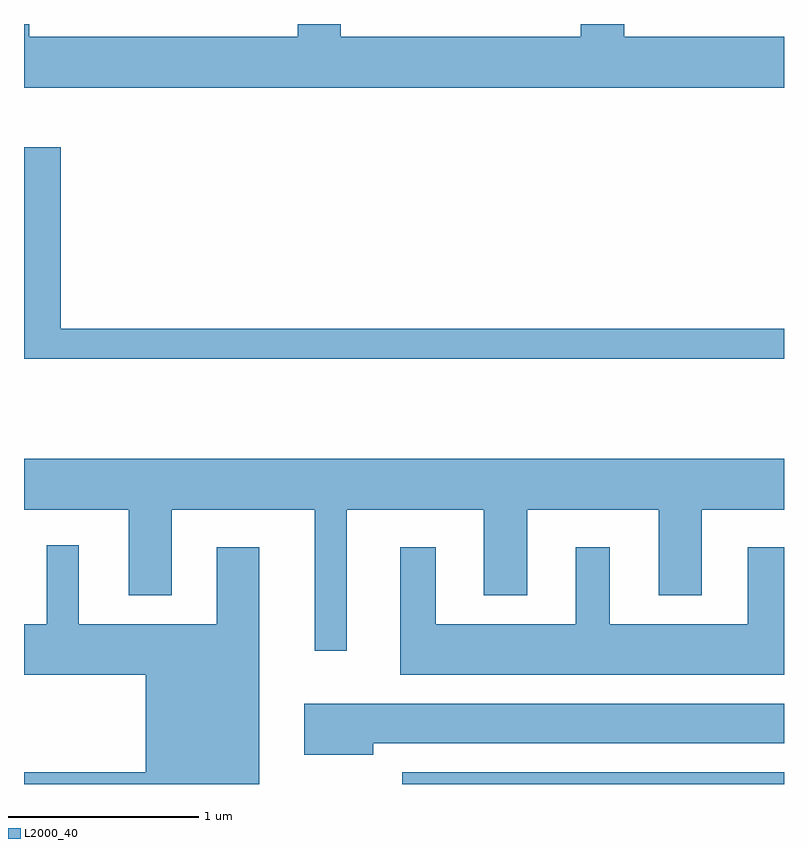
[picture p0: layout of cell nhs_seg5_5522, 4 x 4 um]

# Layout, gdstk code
import gdstk
lib = gdstk.Library(unit=1e-6, precision=1e-09)
def R(c, l, rs):  # rectangles x0, y0, x1, y1
    for r in rs: c.add(gdstk.rectangle(r[:2], r[2:], *l))
def P(c, l, *ps):  # polygons
    for p in ps: c.add(gdstk.Polygon(p, *l))
L2000_40 = (2000, 40)

nhs_seg5_5522 = lib.new_cell('nhs_seg5_5522')
R(nhs_seg5_5522, L2000_40, [(351.601,1402.072,353.611,1402.134)])
P(nhs_seg5_5522, L2000_40, [(353.611,1406.004),(352.769,1406.004),(352.769,1406.072),(352.541,1406.072),(352.541,1406.004),(351.279,1406.004),(351.279,1406.072),(351.051,1406.072),(351.051,1406.004),(349.639,1406.004),(349.639,1406.072),(349.611,1406.072),(349.611,1405.736),(353.611,1405.736)],
  [(353.611,1404.469),(349.804,1404.469),(349.804,1405.424),(349.611,1405.424),(349.611,1404.311),(353.611,1404.311)],
  [(351.309,1403.516),(352.031,1403.516),(352.031,1403.066),(352.259,1403.066),(352.259,1403.516),(352.951,1403.516),(352.951,1403.066),(353.179,1403.066),(353.179,1403.516),(353.611,1403.516),(353.611,1403.784),(349.611,1403.784),(349.611,1403.516),(350.161,1403.516),(350.161,1403.066),(350.389,1403.066),(350.389,1403.516),(351.141,1403.516),(351.141,1402.773),(351.309,1402.773)],
  [(350.849,1403.319),(350.626,1403.319),(350.626,1402.914),(349.899,1402.914),(349.899,1403.328),(349.731,1403.328),(349.731,1402.914),(349.611,1402.914),(349.611,1402.646),(350.251,1402.646),(350.251,1402.134),(349.611,1402.134),(349.611,1402.072),(350.849,1402.072)],
  [(353.611,1403.319),(353.421,1403.319),(353.421,1402.914),(352.694,1402.914),(352.694,1403.319),(352.516,1403.319),(352.516,1402.914),(351.779,1402.914),(351.779,1403.319),(351.591,1403.319),(351.591,1402.646),(353.611,1402.646)],
  [(351.449,1402.286),(353.611,1402.286),(353.611,1402.494),(351.086,1402.494),(351.086,1402.226),(351.449,1402.226)])

lib.write_gds('nhs_seg5_5522.gds')
